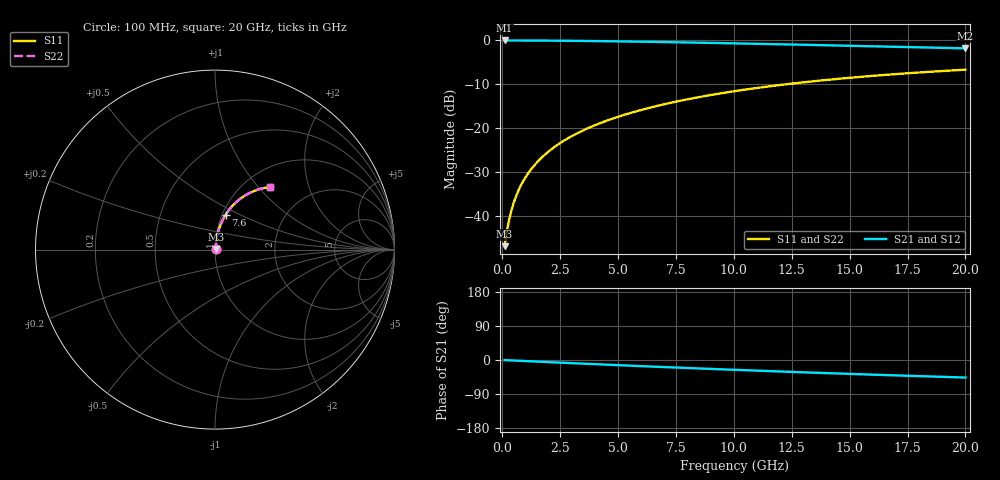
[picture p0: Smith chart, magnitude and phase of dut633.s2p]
! Touchstone file exported from HFSS 2024.1.0
!  File:  C:/UserFiles/LocalFiles/RDL_TSV_Batchsim/temp_RDL_bottom_633_1779784576.aedt
!  Generated:  04:38:54 PM May 26, 2026
!  Design:  RDL_bottom
!  Project:  temp_RDL_bottom_633_1779784576
!  Setup:  Setup1
!  Solution:  Sweep
! Variables:
!  dtsv = 10.80580581um
!  hbump = 3um
!  htsv = 59.46um
!  ldown = 642.47um
!  lrdl = 100um
!  p = 40
!  p1 = 49.33um
!  rhole = 1um
!  t = 450um
!  tdown = 4.22um
!  trdl = 3.915915916um
!  wdown = 15.54um
!  wrdl = 20um
# GHz S MA R 50.000000
! Terminal data exported
! Port[1] = RDL1_T1
! Port[2] = RDL1_T2
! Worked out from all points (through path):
!   200 points, 100 MHz to 20 GHz, reference 50 ohm
!   highest |S21| = -0.03 dB at 100 MHz (marker M1); lowest = -1.8 dB at 20 GHz (marker M2)
!   group delay of S21, straight-line fit = 6.41 ps
!   lowest |S11| = -46.8 dB at 100 MHz (marker M3), VSWR 1.01, Z = 50.4 + j0.288 ohm
!   |S11| at or under -10 dB: start of sweep to 12.24 GHz
!   |S22| runs from -46.8 to -6.7 dB; largest |S21 - S12| = 1.4e-14
!   S11 on the Smith chart (normalised r, x): 100 MHz: 1.01, +0.01; 7.6 GHz: 1.04, +0.42; 20 GHz: 1.30, +1.16
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0.1  0.004578 38.7  0.9964 -0.3  0.9964 -0.3  0.004578 38.7
! Gamma 0 0 0 0
! Port Impedance 50 0 50 0
0.2  0.006775 56.9  0.9963 -0.6  0.9963 -0.6  0.006775 56.9
0.3  0.009271 65.4  0.9961 -0.9  0.9961 -0.9  0.00927 65.4
0.4  0.01185 70.2  0.996 -1.1  0.996 -1.1  0.01185 70.2
0.5  0.01445 73.2  0.9958 -1.4  0.9958 -1.4  0.01445 73.2
0.6  0.01708 75.3  0.9956 -1.7  0.9956 -1.7  0.01708 75.3
0.8  0.02236 77.9  0.9953 -2.3  0.9953 -2.3  0.02236 77.9
1.1  0.03037 80.0  0.9946 -3.1  0.9946 -3.1  0.03037 80.0
1.5  0.0411 81.2  0.9936 -4.2  0.9936 -4.2  0.0411 81.2
1.8  0.04918 81.5  0.9926 -5.0  0.9926 -5.0  0.04918 81.5
2.1  0.05727 81.5  0.9914 -5.9  0.9914 -5.9  0.05727 81.6
2.7  0.07345 81.2  0.9886 -7.5  0.9886 -7.5  0.07345 81.2
3.5  0.09499 80.3  0.984 -9.7  0.984 -9.7  0.09501 80.3
4.2  0.1138 79.3  0.9793 -11.5  0.9793 -11.5  0.1138 79.3
5  0.1352 77.9  0.9732 -13.6  0.9732 -13.6  0.1352 78.0
5.9  0.1591 76.3  0.9656 -15.9  0.9656 -15.9  0.1591 76.4
6.8  0.1827 74.6  0.9573 -18.2  0.9573 -18.2  0.1828 74.6
7.6  0.2035 73.0  0.9495 -20.2  0.9495 -20.2  0.2036 73.1
10.1  0.2662 67.9  0.9231 -26.1  0.9231 -26.1  0.2663 68.0
13.4  0.3419 61.2  0.8859 -33.4  0.8859 -33.4  0.3421 61.3
16.7  0.4079 54.7  0.8477 -40.1  0.8477 -40.1  0.4082 54.8
20  0.4638 48.7  0.8105 -46.3  0.8105 -46.3  0.4643 48.7
